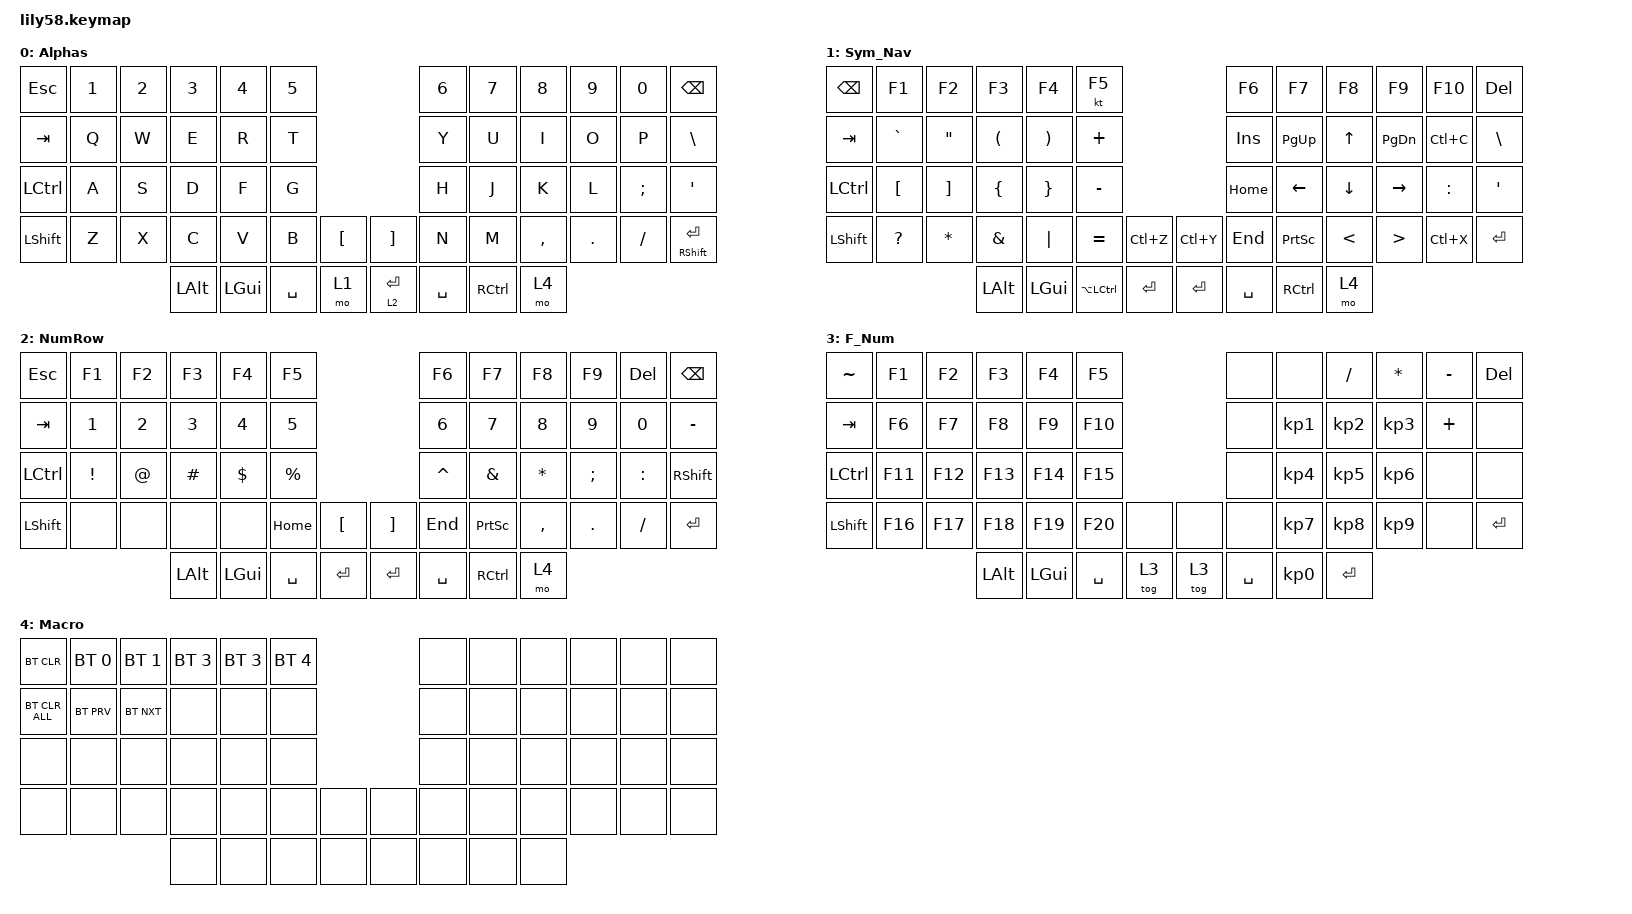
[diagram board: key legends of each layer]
/*
 * Copyright (c) 2020 The ZMK Contributors
 *
 * SPDX-License-Identifier: MIT
 */

#include <behaviors.dtsi>
#include <dt-bindings/zmk/bt.h>
#include <dt-bindings/zmk/keys.h>

/ {
    keymap {
        compatible = "zmk,keymap";

        default_layer {
            // ------------------------------------------------------------------------------------------------------------
            // |  ESC  |  1  |  2  |  3   |  4   |  5   |                   |  6   |  7    |  8    |  9   |   0   |   `   |
            // |  TAB  |  Q  |  W  |  E   |  R   |  T   |                   |  Y   |  U    |  I    |  O   |   P   |   -   |
            // |  CTRL |  A  |  S  |  D   |  F   |  G   |                   |  H   |  J    |  K    |  L   |   ;   |   '   |
            // | SHIFT |  Z  |  X  |  C   |  V   |  B   |   "["  |  |  "]"  |  N   |  M    |  ,    |  .   |   /   | SHIFT |
            //                     | ALT  | GUI  | LOWER|  SPACE |  | ENTER | RAISE| BSPC  | GUI   |

            display-name = "Alphas";
            bindings = <
&kp ESC           &kp N1  &kp N2  &kp N3    &kp N4    &kp N5                              &kp N6     &kp N7             &kp N8     &kp N9   &kp N0    &kp BACKSPACE
&kp TAB           &kp Q   &kp W   &kp E     &kp R     &kp T                               &kp Y      &kp U              &kp I      &kp O    &kp P     &kp BACKSLASH
&kp LEFT_CONTROL  &kp A   &kp S   &kp D     &kp F     &kp G                               &kp H      &kp J              &kp K      &kp L    &kp SEMI  &kp SQT
&kp LEFT_SHIFT    &kp Z   &kp X   &kp C     &kp V     &kp B      &kp LBKT    &kp RBKT     &kp N      &kp M              &kp COMMA  &kp DOT  &kp FSLH  &mt RIGHT_SHIFT RETURN
                                  &kp LALT  &kp LGUI  &kp SPACE  &mo 1       &lt 2 ENTER  &kp SPACE  &kp RIGHT_CONTROL  &mo 4
            >;

            label = "Alphas";
        };

        Sym_Nav_Layer {
            bindings = <
&kp BACKSPACE  &kp F1            &kp F2             &kp F3                &kp F4                 &kt F5                                 &kp F6     &kp F7           &kp F8        &kp F9         &kp F10    &kp DEL
&kp TAB        &kp GRAVE         &kp DOUBLE_QUOTES  &kp LEFT_PARENTHESIS  &kp RIGHT_PARENTHESIS  &kp PLUS                               &kp INS    &kp PAGE_UP      &kp UP_ARROW  &kp PAGE_DOWN  &kp LC(C)  &kp BSLH
&kp LCTRL      &kp LEFT_BRACKET  &kp RIGHT_BRACKET  &kp LEFT_BRACE        &kp RIGHT_BRACE        &kp MINUS                              &kp HOME   &kp LEFT         &kp DOWN      &kp RIGHT      &kp COLON  &kp APOS
&kp LSHFT      &kp QUESTION      &kp ASTRK          &kp AMPS              &kp PIPE               &kp EQUAL      &kp LC(Z)    &kp LC(Y)  &kp END    &kp PRINTSCREEN  &kp LT        &kp GT         &kp LC(X)  &kp ENTER
                                                    &kp LALT              &kp LGUI               &kp LA(LCTRL)  &kp ENTER    &kp ENTER  &kp SPACE  &kp RCTRL        &mo 4
            >;

            label = "Sym_Nav";
        };

        NumRow {
            bindings = <
&kp ESC    &kp F1    &kp F2       &kp F3    &kp F4      &kp F5                               &kp F6     &kp F7           &kp F8        &kp F9      &kp DEL    &kp BACKSPACE
&kp TAB    &kp N1    &kp N2       &kp N3    &kp N4      &kp N5                               &kp N6     &kp N7           &kp N8        &kp N9      &kp N0     &kp MINUS
&kp LCTRL  &kp EXCL  &kp AT_SIGN  &kp HASH  &kp DOLLAR  &kp PERCENT                          &kp CARET  &kp AMPERSAND    &kp ASTERISK  &kp SEMI    &kp COLON  &kp RIGHT_SHIFT
&kp LSHFT  &none     &none        &none     &none       &kp HOME     &kp LBKT     &kp RBKT   &kp END    &kp PRINTSCREEN  &kp COMMA     &kp PERIOD  &kp SLASH  &kp ENTER
                                  &kp LALT  &kp LGUI    &kp SPACE    &kp ENTER    &kp ENTER  &kp SPACE  &kp RCTRL        &mo 4
            >;

            label = "NumRow";
        };

        F_Num_Layer {
            // ------------------------------------------------------------------------------------------------------------
            // | BTCLR | BT1 | BT2 |  BT3 |  BT4 |  BT5 |                   |      |       |       |      |       |       |
            // |  F1   |  F2 |  F3 |  F4  |  F5  |  F6  |                   |  F7  |  F8   |  F9   |  F10 |  F11  |  F12  |
            // |   `   |  !  |  @  |  #   |  $   |  %   |                   |  ^   |  &    |  *    |  (   |   )   |   ~   |
            // |       |     |     |      |      |      |        |  |       |      |  _    |  +    |  {   |   }   |  "|"  |
            //                     |      |      |      |        |  |       |      |       |       |

            display-name = "F_Num";
            bindings = <
&kp TILDE  &kp F1   &kp F2   &kp F3    &kp F4    &kp F5                       &none      &none            &kp SLASH        &kp ASTERISK     &kp MINUS  &kp DELETE
&kp TAB    &kp F6   &kp F7   &kp F8    &kp F9    &kp F10                      &none      &kp KP_NUMBER_1  &kp KP_NUMBER_2  &kp KP_NUMBER_3  &kp PLUS   &none
&kp LCTRL  &kp F11  &kp F12  &kp F13   &kp F14   &kp F15                      &none      &kp KP_NUMBER_4  &kp KP_NUMBER_5  &kp KP_NUMBER_6  &none      &none
&kp LSHFT  &kp F16  &kp F17  &kp F18   &kp F19   &kp F20    &none     &none   &none      &kp KP_NUMBER_7  &kp KP_NUMBER_8  &kp KP_NUMBER_9  &none      &kp ENTER
                             &kp LALT  &kp LGUI  &kp SPACE  &tog 3    &tog 3  &kp SPACE  &kp KP_NUMBER_0  &kp ENTER
            >;

            label = "F_Num";
        };

        macro_layer {
            display-name = "Macro";
            bindings = <
&bt BT_CLR      &bt BT_SEL 0  &bt BT_SEL 1  &bt BT_SEL 3  &bt BT_SEL 3  &bt BT_SEL 4                  &none  &none  &none  &none  &none  &none
&bt BT_CLR_ALL  &bt BT_PRV    &bt BT_NXT    &none         &none         &none                         &none  &none  &none  &none  &none  &none
&none           &none         &none         &none         &none         &none                         &none  &none  &none  &none  &none  &none
&none           &none         &none         &none         &none         &none         &none    &none  &none  &none  &none  &none  &none  &none
                                            &none         &none         &none         &none    &none  &none  &none  &none
            >;

            label = "Macro";
        };
    };
};
